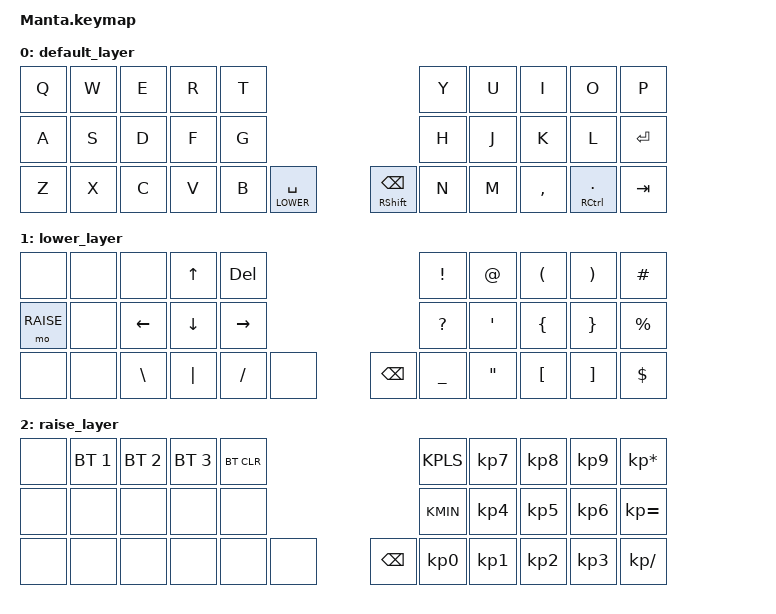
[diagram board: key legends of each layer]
/*
* Copyright (c) 2020 The ZMK Contributors
*
* SPDX-License-Identifier: MIT
*/

#include <behaviors.dtsi>
#include <dt-bindings/zmk/keys.h>
#include <dt-bindings/zmk/bt.h>

#define DEFAULT 0
#define LOWER 1
#define RAISE 2

/ {
        keymap {
                compatible = "zmk,keymap";

                default_layer {
// --------------------------------------------------------------------------------------
// |  Q  |  W  |  E  |  R  |  T  |          |            |  Y  |  U   |  I  |  O     |  P  |
// |  A  |  S  |  D  |  F  |  G  |          |            |  H  |  J   |  K  |  L     |ENTER|
// |  Z  |  X  |  C  |  V  |  B  | SPC/*LWR | BKSP/*SHFT |  N  |  M   |  ,  | ./*CTRL| TAB |
// * = held
                        bindings = <
    &kp Q  &kp W  &kp E  &kp R  &kp T                                   &kp Y  &kp U  &kp I      &kp O          &kp P
    &kp A  &kp S  &kp D  &kp F  &kp G                                   &kp H  &kp J  &kp K      &kp L          &kp RET
    &kp Z  &kp X  &kp C  &kp V  &kp B  &lt LOWER SPACE  &mt RSHFT BSPC  &kp N  &kp M  &kp COMMA  &mt RCTRL DOT  &kp TAB
                        >;
                };
                lower_layer {
// -----------------------------------------------------------------------------------------
// |     |     |     |  UP | DEL |      |      |  !  | @  |  (  |  )  |  #  |
// |RAISE|     | LEFT| DOWN|RIGHT|      |      |  ?  | '  |  {  |  }  |  %  |
// |     |     |  \  | '|' |  /  | HELD | BKSPC|  _  | "  |  [  |  ]  |  $  |
//
                        bindings = <
   &none      &none  &none     &kp UP    &kp DEL                      &kp EXCL   &kp AT   &kp LPAR  &kp RPAR  &kp HASH
   &mo RAISE  &none  &kp LEFT  &kp DOWN  &kp RIGHT                    &kp QMARK  &kp SQT  &kp LBRC  &kp RBRC  &kp PRCNT
   &none      &none  &kp BSLH  &kp PIPE  &kp FSLH   &none  &kp BKSP  &kp UNDER  &kp DQT  &kp LBKT  &kp RBKT  &kp DLLR

                        >;
                };
                raise_layer {
// -----------------------------------------------------------------------------------------
// |     | BT 1| BT 2| BT 3|BTCLR|      |      |  +  |  7  |  8  |  9  |  *  |
// | HELD|     |     |     |     |      |      |  -  |  4  |  5  |  6  |  =  |
// |     |     |     |     |     | HELD | BKSPC|  0  |  1  |  2  |  3  |  /  |

                        bindings = <
   &none  &bt BT_SEL 1  &bt BT_SEL 2  &bt BT_SEL 3  &bt BT_CLR                   &kp KPLS   &kp KP_N7  &kp KP_N8  &kp KP_N9  &kp KP_ASTERISK
   &none  &none         &none         &none         &none                        &kp KMIN  &kp KP_N4  &kp KP_N5  &kp KP_N6  &kp KP_EQUAL
   &none  &none         &none         &none         &none       &none  &kp BKSP  &kp KP_N0     &kp KP_N1  &kp KP_N2  &kp KP_N3  &kp KP_SLASH

                        >;
                };
        };
};
